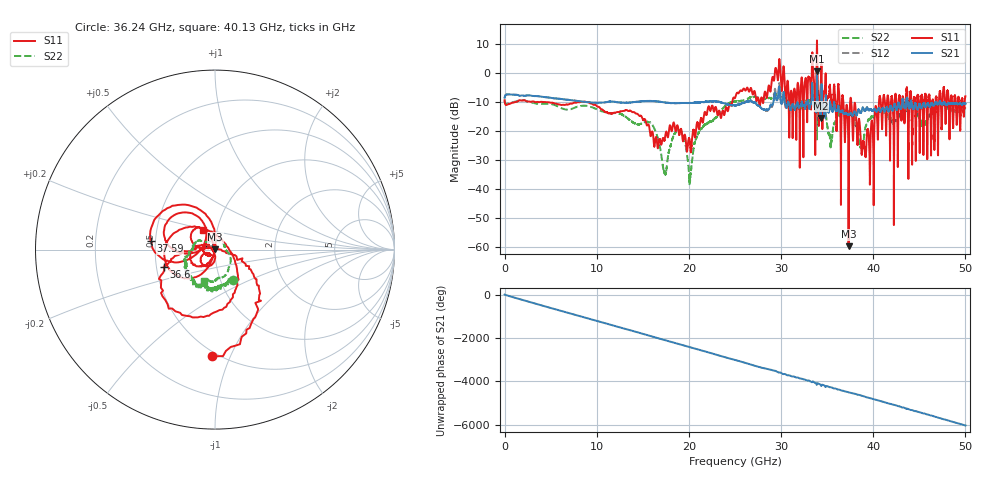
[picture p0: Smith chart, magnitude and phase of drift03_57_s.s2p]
!Created with skrf (http://scikit-rf.org).
# Hz S RI R 50.0
!freq ReS11 ImS11 ReS21 ImS21 ReS12 ImS12 ReS22 ImS22
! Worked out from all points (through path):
!   10001 points, 300 kHz to 50 GHz, reference 50 ohm
!   highest |S21| = 0.63 dB at 33.9 GHz (marker M1); lowest = -15.5 dB at 34.32 GHz (marker M2)
!   group delay of S21, straight-line fit = 335 ps
!   lowest |S11| = -59.9 dB at 37.33 GHz (marker M3), VSWR 1.00, Z = 50 + j0.0947 ohm
!   |S11| at or under -10 dB: 4.467 GHz to 8.193 GHz (3.726 GHz wide, 58.9 % of centre); 9.008 GHz to 24.7 GHz (15.69 GHz wide, 93.1 % of centre); 37.62 GHz to 40.62 GHz (3.001 GHz wide, 7.67 % of centre) (the widest 3 of 57)
!   |S22| runs from -38.4 to -5.9 dB; largest |S21 - S12| = 0.11
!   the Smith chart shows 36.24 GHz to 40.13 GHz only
!   S11 on the Smith chart (normalised r, x): 36.24 GHz: 0.47, -0.86; 36.6 GHz: 0.55, -0.11; 37.59 GHz: 0.47, +0.05; 40.13 GHz: 0.85, +0.19
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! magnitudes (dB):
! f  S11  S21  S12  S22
! 300 kHz  -9.3  -8.5  -8.5  -9.4
! 8.335 GHz  -9.9  -9.8  -9.8  -11.3
! 16.67 GHz  -25.5  -9.8  -9.8  -23.2
! 17.39 GHz  -22.6  -10.1  -10.1  -34.8
! 19.08 GHz  -19.6  -10.3  -10.4  -20.1
! 20.13 GHz  -24.8  -10.3  -10.3  -37.1
! 21.18 GHz  -18.0  -10.1  -10.1  -19.7
! 25 GHz  -8.5  -11.1  -11.1  -9.8
! 29.66 GHz  -2.3  -8.3  -8.4  -7.1
! 31.08 GHz  -6.1  -12.7  -12.7  -10.5
! 33.34 GHz  0.4  -7.5  -7.5  -9.4
! 33.9 GHz  11.3  0.6  0.2  -22.9
! 34.32 GHz  -2.9  -15.5  -14.9  -11.2
! 35.34 GHz  -6.1  -10.5  -9.9  -24.8
! 36.24 GHz  -4.5  -11.8  -11.7  -14.2
! 36.6 GHz  -10.4  -13.1  -13.1  -13.7
! 37.33 GHz  -59.9  -14.4  -14.5  -13.7
! 37.59 GHz  -8.8  -13.9  -13.9  -13.8
! 38.71 GHz  -26.1  -13.4  -13.3  -25.4
! 40.13 GHz  -17.8  -12.5  -12.5  -14.6
! 41.67 GHz  -9.5  -13.2  -13.2  -15.0
! 50 GHz  -8.0  -10.6  -10.6  -12.2
